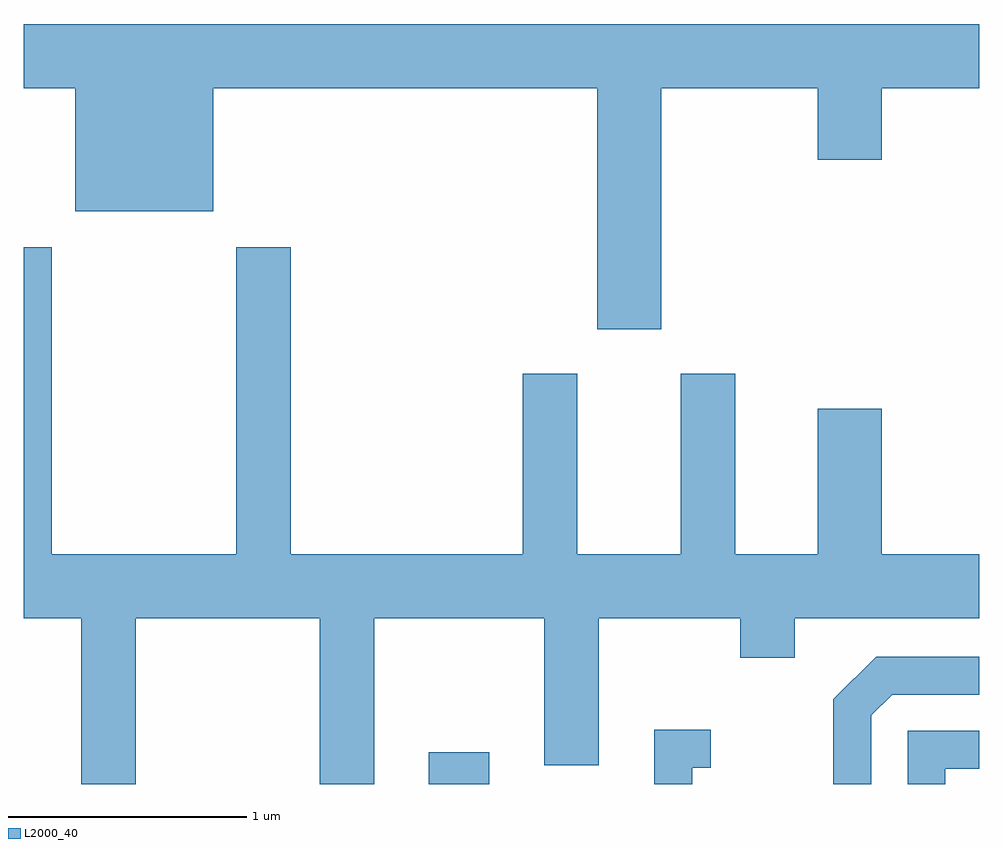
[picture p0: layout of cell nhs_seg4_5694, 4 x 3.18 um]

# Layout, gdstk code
import gdstk
lib = gdstk.Library(unit=1e-6, precision=1e-09)
def R(c, l, rs):  # rectangles x0, y0, x1, y1
    for r in rs: c.add(gdstk.rectangle(r[:2], r[2:], *l))
def P(c, l, *ps):  # polygons
    for p in ps: c.add(gdstk.Polygon(p, *l))
L2000_40 = (2000, 40)

nhs_seg4_5694 = lib.new_cell('nhs_seg4_5694')
R(nhs_seg4_5694, L2000_40, [(353.306,1353.982,353.559,1354.114)])
P(nhs_seg4_5694, L2000_40, [(351.611,1356.896),(351.826,1356.896),(351.826,1356.381),(352.404,1356.381),(352.404,1356.896),(354.011,1356.896),(354.011,1355.886),(354.279,1355.886),(354.279,1356.896),(354.936,1356.896),(354.936,1356.596),(355.204,1356.596),(355.204,1356.896),(355.611,1356.896),(355.611,1357.164),(351.611,1357.164)],
  [(352.079,1354.676),(352.851,1354.676),(352.851,1353.982),(353.079,1353.982),(353.079,1354.676),(353.791,1354.676),(353.791,1354.061),(354.019,1354.061),(354.019,1354.676),(354.611,1354.676),(354.611,1354.511),(354.839,1354.511),(354.839,1354.676),(355.611,1354.676),(355.611,1354.944),(355.204,1354.944),(355.204,1355.554),(354.936,1355.554),(354.936,1354.944),(354.589,1354.944),(354.589,1355.699),(354.361,1355.699),(354.361,1354.944),(353.929,1354.944),(353.929,1355.699),(353.701,1355.699),(353.701,1354.944),(352.729,1354.944),(352.729,1356.229),(352.501,1356.229),(352.501,1354.944),(351.729,1354.944),(351.729,1356.229),(351.611,1356.229),(351.611,1354.676),(351.851,1354.676),(351.851,1353.982),(352.079,1353.982)],
  [(355.159,1354.269),(355.247,1354.356),(355.611,1354.356),(355.611,1354.514),(355.179,1354.514),(355.001,1354.337),(355.001,1353.982),(355.159,1353.982)],
  [(354.409,1354.051),(354.488,1354.051),(354.488,1354.209),(354.251,1354.209),(354.251,1353.982),(354.409,1353.982)],
  [(355.469,1354.046),(355.611,1354.046),(355.611,1354.204),(355.311,1354.204),(355.311,1353.982),(355.469,1353.982)])

lib.write_gds('nhs_seg4_5694.gds')
